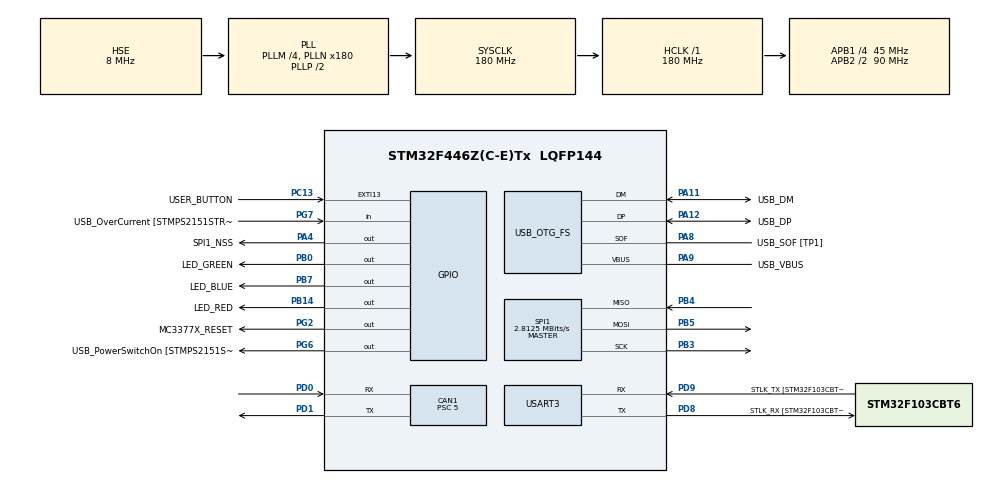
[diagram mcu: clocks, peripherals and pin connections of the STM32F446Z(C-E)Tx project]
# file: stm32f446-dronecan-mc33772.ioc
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CAN1.BS1=CAN_BS1_7TQ
CAN1.CalculateBaudRate=1000000
CAN1.CalculateTimeBit=1000
CAN1.CalculateTimeQuantum=111.11111111111111
CAN1.Prescaler=5
CAN1.SJW=CAN_SJW_1TQ
Dma.Request0=SPI1_RX
Dma.Request1=SPI1_TX
Dma.SPI1_RX.0.Direction=DMA_PERIPH_TO_MEMORY
Dma.SPI1_RX.0.FIFOMode=DMA_FIFOMODE_ENABLE
Dma.SPI1_RX.0.FIFOThreshold=DMA_FIFO_THRESHOLD_1QUARTERFULL
Dma.SPI1_RX.0.Instance=DMA2_Stream0
Dma.SPI1_RX.0.MemBurst=DMA_MBURST_SINGLE
Dma.SPI1_RX.0.MemDataAlignment=DMA_MDATAALIGN_BYTE
Dma.SPI1_RX.0.MemInc=DMA_MINC_ENABLE
Dma.SPI1_RX.0.Mode=DMA_NORMAL
Dma.SPI1_RX.0.PeriphBurst=DMA_PBURST_SINGLE
Dma.SPI1_RX.0.PeriphDataAlignment=DMA_PDATAALIGN_BYTE
Dma.SPI1_RX.0.PeriphInc=DMA_PINC_DISABLE
Dma.SPI1_RX.0.Priority=DMA_PRIORITY_LOW
Dma.SPI1_TX.1.Direction=DMA_MEMORY_TO_PERIPH
Dma.SPI1_TX.1.FIFOMode=DMA_FIFOMODE_ENABLE
Dma.SPI1_TX.1.FIFOThreshold=DMA_FIFO_THRESHOLD_1QUARTERFULL
Dma.SPI1_TX.1.Instance=DMA2_Stream3
Dma.SPI1_TX.1.MemBurst=DMA_MBURST_SINGLE
Dma.SPI1_TX.1.MemDataAlignment=DMA_MDATAALIGN_BYTE
Dma.SPI1_TX.1.MemInc=DMA_MINC_ENABLE
Dma.SPI1_TX.1.Mode=DMA_NORMAL
Dma.SPI1_TX.1.PeriphBurst=DMA_PBURST_SINGLE
Dma.SPI1_TX.1.PeriphDataAlignment=DMA_PDATAALIGN_BYTE
Dma.SPI1_TX.1.PeriphInc=DMA_PINC_DISABLE
Dma.SPI1_TX.1.Priority=DMA_PRIORITY_LOW
Mcu.Family=STM32F4
Mcu.Name=STM32F446Z(C-E)Tx
Mcu.Package=LQFP144
NVIC.CAN1_RX0_IRQn=true\:0\:0\:false\:false\:true\:true\:true\:true
NVIC.CAN1_RX1_IRQn=true\:0\:0\:false\:false\:true\:true\:true\:true
NVIC.CAN1_TX_IRQn=true\:0\:0\:false\:false\:true\:true\:true\:true
NVIC.DMA2_Stream0_IRQn=true\:0\:0\:false\:false\:true\:false\:true\:true
NVIC.DMA2_Stream3_IRQn=true\:0\:0\:false\:false\:true\:false\:true\:true
NVIC.EXTI15_10_IRQn=true\:0\:0\:false\:false\:true\:true\:true\:true
NVIC.OTG_FS_IRQn=true\:0\:0\:false\:false\:true\:false\:true\:true
NVIC.PriorityGroup=NVIC_PRIORITYGROUP_4
NVIC.TIM2_IRQn=true\:0\:0\:false\:false\:true\:true\:true\:true
PA10.GPIO_Label=USB_ID
PA10.Signal=USB_OTG_FS_ID
PA11.GPIO_Label=USB_DM
PA11.Mode=Device_Only
PA11.Signal=USB_OTG_FS_DM
PA12.GPIO_Label=USB_DP
PA12.Mode=Device_Only
PA12.Signal=USB_OTG_FS_DP
PA13.GPIO_Label=TMS
PA13.Mode=Serial_Wire
PA13.Signal=SYS_JTMS-SWDIO
PA14.GPIO_Label=TCK
PA14.Mode=Serial_Wire
PA14.Signal=SYS_JTCK-SWCLK
PA4.GPIO_Label=SPI1_NSS
PA4.GPIO_Speed=GPIO_SPEED_FREQ_HIGH
PA4.PinState=GPIO_PIN_SET
PA4.Signal=GPIO_Output
PA8.GPIO_Label=USB_SOF [TP1]
PA8.Mode=Activate_SOF_FS
PA8.Signal=USB_OTG_FS_SOF
PA9.GPIO_Label=USB_VBUS
PA9.Mode=Activate_VBUS
PA9.Signal=USB_OTG_FS_VBUS
PB0.GPIO_Label=LED_GREEN
PB0.Signal=GPIO_Output
PB14.GPIO_Label=LED_RED
PB14.Signal=GPIO_Output
PB3.Mode=Full_Duplex_Master
PB3.Signal=SPI1_SCK
PB4.Mode=Full_Duplex_Master
PB4.Signal=SPI1_MISO
PB5.Mode=Full_Duplex_Master
PB5.Signal=SPI1_MOSI
PB7.GPIO_Label=LED_BLUE
PB7.Signal=GPIO_Output
PC13.GPIO_Label=USER_BUTTON
PC13.Signal=GPXTI13
PC14-OSC32_IN.Mode=LSE-External-Oscillator
PC14-OSC32_IN.Signal=RCC_OSC32_IN
PC15-OSC32_OUT.Mode=LSE-External-Oscillator
PC15-OSC32_OUT.Signal=RCC_OSC32_OUT
PD0.Mode=CAN_Activate
PD0.Signal=CAN1_RX
PD1.Mode=CAN_Activate
PD1.Signal=CAN1_TX
PD8.GPIO_Label=STLK_RX [STM32F103CBT6_PA3]
PD8.Mode=Asynchronous
PD8.Signal=USART3_TX
PD9.GPIO_Label=STLK_TX [STM32F103CBT6_PA2]
PD9.Mode=Asynchronous
PD9.Signal=USART3_RX
PG2.GPIO_Label=MC3377X_RESET
PG2.Signal=GPIO_Output
PG6.GPIO_Label=USB_PowerSwitchOn [STMPS2151STR_EN]
PG6.Signal=GPIO_Output
PG7.GPIO_Label=USB_OverCurrent [STMPS2151STR_FAULT]
PG7.Signal=GPIO_Input
PH0-OSC_IN.GPIO_Label=MCO [STM32F103CBT6_PA8]
PH0-OSC_IN.Mode=HSE-External-Clock-Source
PH0-OSC_IN.Signal=RCC_OSC_IN
PH1-OSC_OUT.Mode=HSE-External-Clock-Source
PH1-OSC_OUT.Signal=RCC_OSC_OUT
ProjectManager.HeapSize=0x200
ProjectManager.StackSize=0x400
ProjectManager.TargetToolchain=STM32CubeIDE
RCC.48MHZClocksFreq_Value=24000000
RCC.AHBFreq_Value=180000000
RCC.APB1CLKDivider=RCC_HCLK_DIV4
RCC.APB1Freq_Value=45000000
RCC.APB1TimFreq_Value=90000000
RCC.APB2CLKDivider=RCC_HCLK_DIV2
RCC.APB2Freq_Value=90000000
RCC.APB2TimFreq_Value=180000000
RCC.CortexFreq_Value=180000000
RCC.HCLKFreq_Value=180000000
RCC.HSE_VALUE=8000000
RCC.HSI_VALUE=16000000
RCC.PLLM=4
RCC.PLLMUL=RCC_PLL_MUL9
RCC.PLLN=180
RCC.PLLQ=7
RCC.PLLSAIM=8
RCC.PLLSAIP=RCC_PLLSAIP_DIV4
RCC.PRESCALERUSB=RCC_USBCLKSOURCE_PLL_DIV1_5
RCC.SYSCLKFreq_VALUE=180000000
RCC.SYSCLKSource=RCC_SYSCLKSOURCE_PLLCLK
RCC.SYSCLKSourceVirtual=RCC_SYSCLKSOURCE_PLLCLK
RCC.USBCLockSelection=RCC_CLK48CLKSOURCE_PLLSAIP
RCC.USBFreq_Value=48000000
RCC.VCOOutputFreq_Value=360000000
SPI1.BaudRatePrescaler=SPI_BAUDRATEPRESCALER_32
SPI1.CLKPhase=SPI_PHASE_2EDGE
SPI1.CLKPolarity=SPI_POLARITY_LOW
SPI1.CalculateBaudRate=2.8125 MBits/s
SPI1.Direction=SPI_DIRECTION_2LINES
SPI1.Mode=SPI_MODE_MASTER
SPI1.VirtualType=VM_MASTER
TIM2.Channel-Output\ Compare1\ No\ Output=TIM_CHANNEL_1
TIM2.Prescaler=89
USART3.VirtualMode=VM_ASYNC
USB_DEVICE.CLASS_NAME_FS=CDC
USB_DEVICE.VirtualMode-CDC_FS=Cdc
USB_DEVICE.VirtualModeFS=Cdc_FS
USB_OTG_FS.VirtualMode=Device_Only
VP_TIM2_VS_ClockSourceINT.Mode=Internal
VP_TIM2_VS_no_output1.Mode=Output Compare1 No Output
VP_USB_DEVICE_VS_USB_DEVICE_CDC_FS.Mode=CDC_FS
board=NUCLEO-F446ZE

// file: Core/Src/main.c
/* USER CODE BEGIN Header */
/**
 ******************************************************************************
 * @file           : main.c
 * @brief          : Main program body
 ******************************************************************************
 * @attention
 *
 * Copyright (c) 2026 STMicroelectronics.
 * All rights reserved.
 *
 * This software is licensed under terms that can be found in the LICENSE file
 * in the root directory of this software component.
 * If no LICENSE file comes with this software, it is provided AS-IS.
 *
 ******************************************************************************
 */
/* USER CODE END Header */
#include "main.h"
#include "can.h"
#include "dma.h"
#include "gpio.h"
#include "spi.h"
#include "tim.h"
#include "usart.h"
#include "usb_device.h"

/* USER CODE BEGIN Includes */
#include <string.h>
#include "afedrv.h"
#include "bcf.h"
#include "dronecan.h"
#include "logger.h"
#include "util.h"
#include "monitor.h"
#include "logger.h"
/* USER CODE END Includes */

/* USER CODE BEGIN PD */

#define ENABLE_CAN 1
#define ENABLE_AFE 1
#define ENABLE_BCF 1
/* USER CODE END PD */

void SystemClock_Config(void);
/* USER CODE BEGIN PFP */

#define LED_NUM 2U
static uint8_t led_cnt = LED_NUM;

static void toggle_led(void)
{
    switch (led_cnt) {
    // case 3: {
    //   HAL_GPIO_TogglePin(LED_GREEN_GPIO_Port, LED_GREEN_Pin);
    // } break;
    case 2: {
        HAL_GPIO_TogglePin(LED_BLUE_GPIO_Port, LED_BLUE_Pin);
    } break;
    case 1: {
        HAL_GPIO_TogglePin(LED_RED_GPIO_Port, LED_RED_Pin);
    } break;
    }
    led_cnt--;
    if (led_cnt == 0) led_cnt = LED_NUM;
}

/* USER CODE END PFP */

int main(void)
{

    /* MCU Configuration--------------------------------------------------------*/

    /* Reset of all peripherals, Initializes the Flash interface and the Systick. */
    HAL_Init();

    /* Configure the system clock */
    SystemClock_Config();

    /* Initialize all configured peripherals */
    MX_GPIO_Init();
    MX_DMA_Init();
    MX_CAN1_Init();
    MX_USART3_UART_Init();
    MX_TIM2_Init();
    MX_SPI1_Init();
    MX_USB_DEVICE_Init();
    /* USER CODE BEGIN 2 */
#if ENABLE_AFE
    afedrv_init();
#endif    // ENABLE_CAN
#if ENABLE_CAN
    dronecan_init();
#endif    // ENABLE_CAN
#if ENABLE_BCF
    bcf_init();
#endif    // ENABLE_BCF
          /* USER CODE END 2 */

    /* Infinite loop */
    /* USER CODE BEGIN WHILE */

#if ENABLE_CAN
    /* Start CAN controller */
    if (HAL_CAN_Start(&hcan1) != HAL_OK) {
        Error_Handler();
    }
#endif    // ENABLE_CAN

    uint32_t prev_time = HAL_GetTick();
    uint32_t curr_time;

    uint32_t runnable_10ms_cnt = 10;
    uint32_t runnable_100ms_cnt = 100;
    uint32_t runnable_1000ms_cnt = 1000;

    while (1) {

        curr_time = HAL_GetTick();
        if (curr_time == prev_time) continue;
        prev_time = curr_time;

#if ENABLE_CAN
        dronecan_process_tx_rx_1ms();
#endif    // ENABLE_CAN

        if (runnable_10ms_cnt > 0) runnable_10ms_cnt--;
        if (runnable_10ms_cnt == 0) {
#if ENABLE_AFE
            afedrv_runnable_10ms();
#endif    // ENABLE_AFE
            monitor_update_10ms();
            logger_send_data_usb_10ms();
            runnable_10ms_cnt = 10;
        }

        if (runnable_100ms_cnt > 0) runnable_100ms_cnt--;
        if (runnable_100ms_cnt == 0) {
#if ENABLE_BCF
            bcf_100ms();
#endif    // ENABLE_BCF
            runnable_100ms_cnt = 100;
        }

        if (runnable_1000ms_cnt > 0) runnable_1000ms_cnt--;
        if (runnable_1000ms_cnt == 0) {
            toggle_led();
#if ENABLE_CAN
            dronecan_send_battery_info_1000ms();
            dronecan_send_battery_info_aux_1000ms();
            dronecan_node_cleanup_1000ms();
#endif    // ENABLE_CAN
            runnable_1000ms_cnt = 1000;
        }

        /* USER CODE END WHILE */

    }
}

void SystemClock_Config(void)
{
    RCC_OscInitTypeDef RCC_OscInitStruct = {0};
    RCC_ClkInitTypeDef RCC_ClkInitStruct = {0};

    /** Configure the main internal regulator output voltage
  */
    __HAL_RCC_PWR_CLK_ENABLE();
    __HAL_PWR_VOLTAGESCALING_CONFIG(PWR_REGULATOR_VOLTAGE_SCALE1);

    /** Initializes the RCC Oscillators according to the specified parameters
  * in the RCC_OscInitTypeDef structure.
  */
    RCC_OscInitStruct.OscillatorType = RCC_OSCILLATORTYPE_HSE;
    RCC_OscInitStruct.HSEState = RCC_HSE_BYPASS;
    RCC_OscInitStruct.PLL.PLLState = RCC_PLL_ON;
    RCC_OscInitStruct.PLL.PLLSource = RCC_PLLSOURCE_HSE;
    RCC_OscInitStruct.PLL.PLLM = 4;
    RCC_OscInitStruct.PLL.PLLN = 180;
    RCC_OscInitStruct.PLL.PLLP = RCC_PLLP_DIV2;
    RCC_OscInitStruct.PLL.PLLQ = 7;
    RCC_OscInitStruct.PLL.PLLR = 2;
    if (HAL_RCC_OscConfig(&RCC_OscInitStruct) != HAL_OK) {
        Error_Handler();
    }

    /** Activate the Over-Drive mode
  */
    if (HAL_PWREx_EnableOverDrive() != HAL_OK) {
        Error_Handler();
    }

    /** Initializes the CPU, AHB and APB buses clocks
  */
    RCC_ClkInitStruct.ClockType = RCC_CLOCKTYPE_HCLK | RCC_CLOCKTYPE_SYSCLK | RCC_CLOCKTYPE_PCLK1 | RCC_CLOCKTYPE_PCLK2;
    RCC_ClkInitStruct.SYSCLKSource = RCC_SYSCLKSOURCE_PLLCLK;
    RCC_ClkInitStruct.AHBCLKDivider = RCC_SYSCLK_DIV1;
    RCC_ClkInitStruct.APB1CLKDivider = RCC_HCLK_DIV4;
    RCC_ClkInitStruct.APB2CLKDivider = RCC_HCLK_DIV2;

    if (HAL_RCC_ClockConfig(&RCC_ClkInitStruct, FLASH_LATENCY_5) != HAL_OK) {
        Error_Handler();
    }
}

/* USER CODE BEGIN 4 */

/**
  * @brief  BSP USER push-button callback
  * @param  Button Specifies the pin connected EXTI line
  * @retval None.
  */
void HAL_GPIO_EXTI_Callback(uint16_t GPIO_Pin)
{
    if (GPIO_Pin == USER_BUTTON_Pin) {
        HAL_GPIO_TogglePin(LED_GREEN_GPIO_Port, LED_GREEN_Pin);
    }
}

/* USER CODE END 4 */

void Error_Handler(void)
{
    __disable_irq();
    while (1) {}
}
#ifdef USE_FULL_ASSERT
/**
  * @brief  Reports the name of the source file and the source line number
  *         where the assert_param error has occurred.
  * @param  file: pointer to the source file name
  * @param  line: assert_param error line source number
  * @retval None
  */
void assert_failed(uint8_t* file, uint32_t line)
{
    /* USER CODE BEGIN 6 */
    /* User can add his own implementation to report the file name and line
     number, ex: printf("Wrong parameters value: file %s on line %d\r\n", file,
     line) */
    /* USER CODE END 6 */
}
#endif /* USE_FULL_ASSERT */
